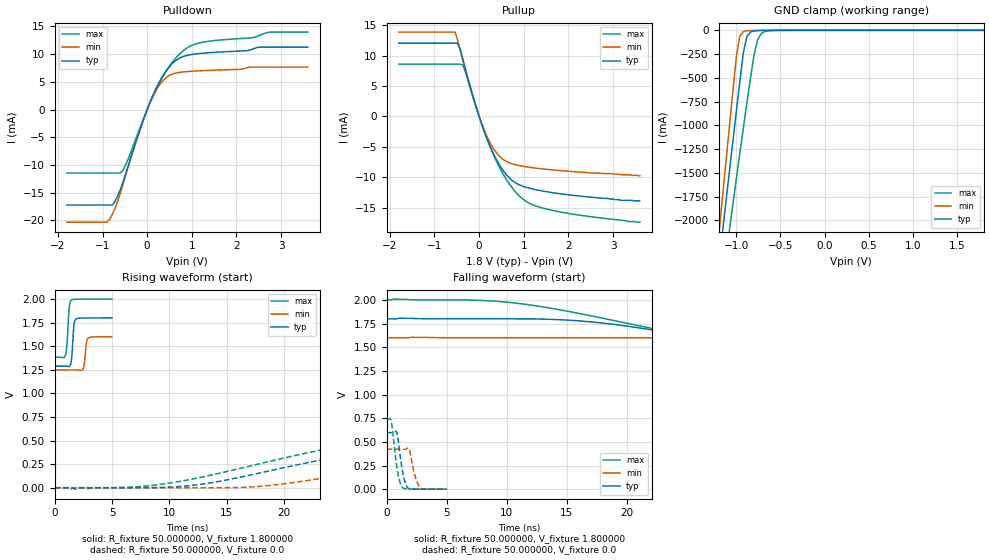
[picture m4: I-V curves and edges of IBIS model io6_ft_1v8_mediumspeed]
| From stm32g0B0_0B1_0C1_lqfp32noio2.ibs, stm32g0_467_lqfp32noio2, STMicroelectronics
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|   Model io6_ft_1v8_mediumspeed
[Model]  io6_ft_1v8_mediumspeed
Model_type I/O
Polarity   Non-Inverting
Enable   Active-Low
Vinl =   0.540000V
Vinh =   1.260000V
Vmeas =  0.900000V
Cref =   30.000000pF
Rref =   100.000000M
Vref =   0.0V
C_comp   1.277600pF   1.236700pF   1.315100pF
[Temperature Range]   25.000000   -40.000000   0.125000k
[Pullup Reference]   1.800000V   1.600000V   2.000000V
[Pulldown Reference]   0.0V   0.0V   0.0V
[POWER Clamp Reference]   1.800000V   1.600000V   2.000000V
[GND Clamp Reference]   0.0V   0.0V   0.0V
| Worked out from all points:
|   slope of the pulldown table from 0 to 0.27 V, typ, clamps not added: 54.7 ohm
|   slope of the pullup table from 0 to 0.27 V, typ, clamps not added: 50.6 ohm
|   GND clamp passes 1 mA (typ) near -0.66 V on its own axis
|   rising waveform, R_fixture 50.000000, V_fixture 1.800000: 20-80 % time 165ps typ, 169ps min, 180ps max; typ from 1.29 V to 1.8 V
|   rising waveform, R_fixture 50.000000, V_fixture 0.0: 20-80 % time 17.5ns typ, 17.4ns min, 19.7ns max; typ from 0 V to 0.598 V
|   falling waveform, R_fixture 50.000000, V_fixture 1.800000: 20-80 % time 17.7ns typ, 19.8ns min, 17.4ns max; typ from 1.8 V to 1.29 V
|   falling waveform, R_fixture 50.000000, V_fixture 0.0: 20-80 % time 438ps typ, 479ps min, 447ps max; typ from 0.598 V to 0 V
[Pulldown]
|Voltage   I(typ)   I(min)   I(max)
-1.8V     -17.22mA   -20.33mA   -11.45mA
-900mV    -17.22mA   -20.33mA   -11.45mA
-720mV    -16.58mA   -17.82mA   -11.45mA
-600mV    -14.41mA   -15.08mA   -11.45mA
-480mV    -11.58mA   -11.79mA   -9.954mA
0V        10fA       11fA       0A
240mV     4.49mA     3.999mA    4.291mA
480mV     7.563mA    6.085mA    7.612mA
780mV     9.487mA    6.76mA     10.43mA
1.14V     10.08mA    6.976mA    11.96mA
2.76V     11.26mA    7.652mA    13.98mA
3.6V      11.26mA    7.652mA    13.98mA
[Pullup]
|Voltage   I(typ)   I(min)   I(max)
-1.8V     12.04mA    13.85mA    8.583mA
-540mV    12.04mA    13.85mA    8.583mA
-480mV    12.04mA    12.54mA    8.583mA
-360mV    9.289mA    9.049mA    8.383mA
-120mV    2.896mA    2.753mA    2.776mA
120mV     -2.605mA   -2.366mA   -2.563mA
360mV     -6.731mA   -5.708mA   -6.907mA
600mV     -9.499mA   -7.385mA   -10.25mA
960mV     -11.43mA   -8.172mA   -13.47mA
1.32V     -12.13mA   -8.557mA   -14.86mA
2.16V     -13.03mA   -9.116mA   -16.14mA
3.6V      -13.9mA    -9.8mA     -17.4mA
[GND_clamp]
|Voltage   I(typ)   I(min)   I(max)
-1.8V     -7.471A    -7.973A    -7.298A
-1.2V     -2.489A    -2.18A     -2.954A
-1.16V    -2.16A     -1.797A    -2.674A
-1.08V    -1.505A    -1.034A    -2.118A
-1V       -857.9mA   -283.1mA   -1.568A
-960mV    -540.4mA   -62.14mA   -1.296A
-920mV    -234.4mA   -13.75mA   -1.028A
-880mV    -66.29mA   -4.855mA   -765.3mA
-800mV    -6.505mA   -2.056mA   -266mA
-760mV    -3.074mA   -1.45mA    -100.4mA
-680mV    -1.215mA   -557.1uA   -14.19mA
1.8V      0A         0A         0A
[POWER_clamp]
|Voltage   I(typ)   I(min)   I(max)
-1.8V     0A         0A         0A
0V        0A         0A         0A
[Ramp]
| variable   typ   min   max
dV/dt_r  0.35848/17.46690n   0.25267/17.43203n   0.44155/19.63854n
dV/dt_f  0.30534/17.68100n   0.20862/19.70667n   0.36948/17.41932n
R_load = 50.000000
[Rising Waveform]
R_fixture= 50.000000
V_fixture= 1.800000
V_fixture_min= 1.600000
V_fixture_max= 2.000000
|time   V(typ)   V(min)   V(max)
0s        1.29V      1.249V     1.383V
940.9ps   1.289V     1.249V     1.409V
1.061ns   1.287V     1.249V     1.515V
1.251ns   1.285V     1.249V     1.901V
1.431ns   1.335V     1.249V     1.987V
1.672ns   1.722V     1.249V     1.997V
1.852ns   1.788V     1.249V     1.998V
2.482ns   1.799V     1.26V      2V
2.893ns   1.8V       1.583V     2V
4.985ns   1.8V       1.6V       2V
[Rising Waveform]
R_fixture= 50.000000
V_fixture= 0.0
V_fixture_min= 0.0
V_fixture_max= 0.0
|time   V(typ)   V(min)   V(max)
0s        1.032uV    1.45uV     -2.464uV
1.401ns   -1.368mV   -4.397uV   -15.18mV
8.609ns   938.1uV    -155.5uV   25.91mV
12.61ns   34.05mV    -123.6uV   106.9mV
17.62ns   148.8mV    11.73mV    246.8mV
22.82ns   283.9mV    90.36mV    389.1mV
28.43ns   400mV      192.7mV    508.5mV
40.04ns   531.4mV    337.9mV    649.9mV
56.06ns   584.7mV    405mV      715.5mV
99.7ns    597.9mV    421.2mV    736.3mV
[Falling Waveform]
R_fixture= 50.000000
V_fixture= 1.800000
V_fixture_min= 1.600000
V_fixture_max= 2.000000
|time   V(typ)   V(min)   V(max)
0s        1.8V       1.6V       2V
9.409ns   1.8V       1.6V       1.983V
16.22ns   1.776V     1.6V       1.852V
20.42ns   1.716V     1.6V       1.742V
27.43ns   1.569V     1.583V     1.58V
32.63ns   1.469V     1.537V     1.507V
38.44ns   1.398V     1.461V     1.46V
48.25ns   1.339V     1.35V      1.42V
58.66ns   1.312V     1.295V     1.401V
99.7ns    1.29V      1.249V     1.383V
[Falling Waveform]
R_fixture= 50.000000
V_fixture= 0.0
V_fixture_min= 0.0
V_fixture_max= 0.0
|time   V(typ)   V(min)   V(max)
0s        597.9mV    421.2mV    736.3mV
380.4ps   597.4mV    421.3mV    716.2mV
830.8ps   602.5mV    421.5mV    246.9mV
1.091ns   383.9mV    421.4mV    79.34mV
1.291ns   211.1mV    421mV      21.45mV
1.562ns   61.84mV    422.4mV    3.897mV
1.862ns   6.459mV    427.2mV    1.514mV
2.352ns   1.28mV     145.2mV    606.4uV
2.813ns   482.6uV    12.12mV    322.7uV
4.985ns   1.032uV    1.45uV     -2.464uV
